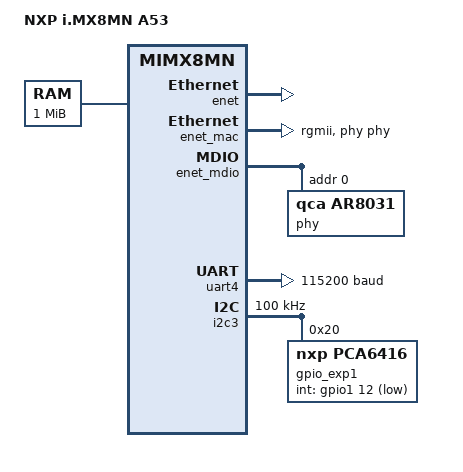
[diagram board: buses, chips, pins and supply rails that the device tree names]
/*
 * Copyright 2022,2024 NXP
 *
 * SPDX-License-Identifier: Apache-2.0
 */

/dts-v1/;

#include <zephyr/dt-bindings/gpio/gpio.h>
#include <zephyr/dt-bindings/i2c/i2c.h>
#include <nxp/nxp_mimx8mn_a53.dtsi>
#include "imx8mn_evk-pinctrl.dtsi"

/ {
	compatible = "fsl,mimx8mn";
	model = "NXP i.MX8MN A53";

	chosen {
		zephyr,console = &uart4;
		zephyr,shell-uart = &uart4;
		/* sram node actually locates at DDR DRAM */
		zephyr,sram = &dram;
	};

	cpus {
		cpu@0 {
			status = "disabled";
		};

		cpu@1 {
			status = "disabled";
		};

		cpu@2 {
			status = "disabled";
		};
	};

	dram: memory@93c00000 {
		reg = <0x93c00000 DT_SIZE_M(1)>;
	};
};

&enet {
	status = "okay";
};

&enet_mac {
	pinctrl-0 = <&pinmux_enet>;
	pinctrl-names = "default";
	phy-handle = <&phy>;
	phy-connection-type = "rgmii";
	zephyr,random-mac-address;
	status = "okay";
};

&enet_mdio {
	pinctrl-0 = <&pinmux_mdio>;
	pinctrl-names = "default";
	status = "okay";

	phy: phy@0 {
		compatible = "qca,ar8031";
		reg = <0>;
		status = "okay";
	};
};

&uart4 {
	current-speed = <115200>;
	pinctrl-0 = <&uart4_default>;
	pinctrl-names = "default";
	status = "okay";
};

&gpio1 {
	status = "okay";
};

&i2c3 {
	pinctrl-0 = <&pinmux_i2c3>;
	pinctrl-names = "default";
	clock-frequency = <I2C_BITRATE_STANDARD>;
	status = "okay";

	gpio_exp1: pca6416@20 {
		compatible = "nxp,pca6416";
		reg = <0x20>;
		gpio-controller;
		#gpio-cells = <2>;
		ngpios = <16>;
		int-gpios = <&gpio1 12 (GPIO_ACTIVE_LOW | GPIO_PULL_UP)>;
		status = "okay";
	};
};
